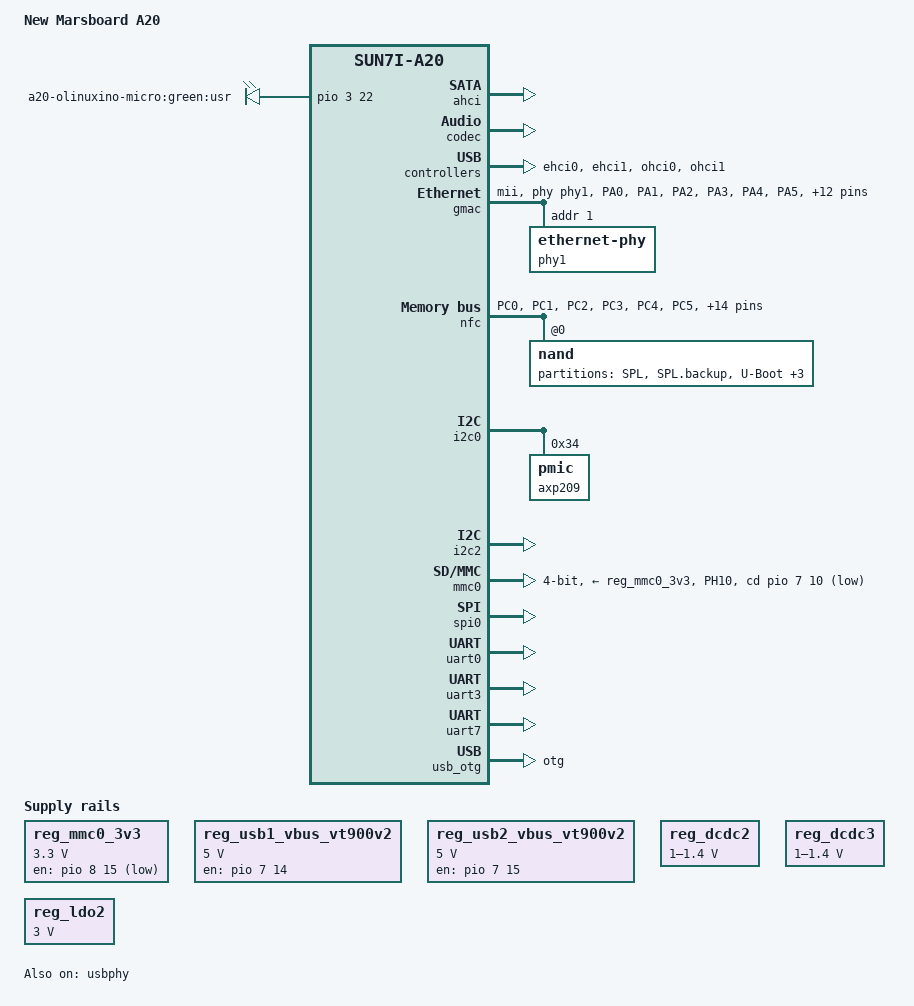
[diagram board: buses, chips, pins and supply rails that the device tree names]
/*
 * Copyright 2014 Hans de Goede <hdegoede@redhat.com>
 *
 * Hans de Goede <hdegoede@redhat.com>
 *
 * This file is dual-licensed: you can use it either under the terms
 * of the GPL or the X11 license, at your option. Note that this dual
 * licensing only applies to this file, and not this project as a
 * whole.
 *
 *  a) This file is free software; you can redistribute it and/or
 *     modify it under the terms of the GNU General Public License as
 *     published by the Free Software Foundation; either version 2 of the
 *     License, or (at your option) any later version.
 *
 *     This file is distributed in the hope that it will be useful,
 *     but WITHOUT ANY WARRANTY; without even the implied warranty of
 *     MERCHANTABILITY or FITNESS FOR A PARTICULAR PURPOSE.  See the
 *     GNU General Public License for more details.
 *
 * Or, alternatively,
 *
 *  b) Permission is hereby granted, free of charge, to any person
 *     obtaining a copy of this software and associated documentation
 *     files (the "Software"), to deal in the Software without
 *     restriction, including without limitation the rights to use,
 *     copy, modify, merge, publish, distribute, sublicense, and/or
 *     sell copies of the Software, and to permit persons to whom the
 *     Software is furnished to do so, subject to the following
 *     conditions:
 *
 *     The above copyright notice and this permission notice shall be
 *     included in all copies or substantial portions of the Software.
 *
 *     THE SOFTWARE IS PROVIDED "AS IS", WITHOUT WARRANTY OF ANY KIND,
 *     EXPRESS OR IMPLIED, INCLUDING BUT NOT LIMITED TO THE WARRANTIES
 *     OF MERCHANTABILITY, FITNESS FOR A PARTICULAR PURPOSE AND
 *     NONINFRINGEMENT. IN NO EVENT SHALL THE AUTHORS OR COPYRIGHT
 *     HOLDERS BE LIABLE FOR ANY CLAIM, DAMAGES OR OTHER LIABILITY,
 *     WHETHER IN AN ACTION OF CONTRACT, TORT OR OTHERWISE, ARISING
 *     FROM, OUT OF OR IN CONNECTION WITH THE SOFTWARE OR THE USE OR
 *     OTHER DEALINGS IN THE SOFTWARE.
 */

/dts-v1/;
#include "sun7i-a20.dtsi"
#include "sunxi-common-regulators.dtsi"

#include <dt-bindings/gpio/gpio.h>
#include <dt-bindings/interrupt-controller/irq.h>
#include <dt-bindings/pinctrl/sun4i-a10.h>

/ {
	model = "New Marsboard A20";
	compatible = "haoyu,a20-marsboard-new", "allwinner,sun7i-a20";

	aliases {
		serial0 = &uart0;
		serial1 = &uart3;
		serial2 = &uart7;
	};

	chosen {
		stdout-path = "serial0:115200n8";
	};

	leds {
		compatible = "gpio-leds";
		pinctrl-names = "default";
		pinctrl-0 = <&led_pins_vt900v2>;

		green {
			label = "a20-olinuxino-micro:green:usr";
			gpios = <&pio 3 22 GPIO_ACTIVE_HIGH>;  /* PD22 */
			default-state = "on";
		};
	};
	
	reg_mmc0_3v3: mmc0-3v3 {
		status = "okay";
		compatible = "regulator-fixed";
		pinctrl-names = "default";
		pinctrl-0 = <&mmc0_power_pin_vt900v2>;
		regulator-name = "mmc0-3v3";
		regulator-min-microvolt = <3300000>;
		regulator-max-microvolt = <3300000>;
		startup-delay-us = <100000>;		
		/* enable-active-high; */
		gpio = <&pio 8 15 GPIO_ACTIVE_HIGH>; /* PI15 */
	};
	
	reg_usb1_vbus_vt900v2: usb1-vbus_vt900v2 {
		status = "okay";	
		compatible = "regulator-fixed";
		regulator-name = "usb1-vbus";
		regulator-min-microvolt = <5000000>;
		regulator-max-microvolt = <5000000>;
		enable-active-high;		
		startup-delay-us = <100000>;
		pinctrl-0 = <&usb1_vbus_pin_vt900v2>;
		gpio = <&pio 7 14 GPIO_ACTIVE_HIGH>;   /* PH14 */
		
	};

	reg_usb2_vbus_vt900v2: usb2-vbus_vt900v2 {
		status = "okay";	
		compatible = "regulator-fixed";
		regulator-name = "usb2-vbus";
		regulator-min-microvolt = <5000000>;
		regulator-max-microvolt = <5000000>;
		enable-active-high;
		startup-delay-us = <100000>;
		gpio = <&pio 7 15 GPIO_ACTIVE_HIGH>;  /* PH15 */		
	};
	
	

};

&ahci {
	status = "okay";
};

&codec {
	status = "okay";
};

&cpu0 {
	cpu-supply = <&reg_dcdc2>;
	operating-points = <
		/* kHz	  uV */
		960000	1400000
		912000	1400000
		864000	1350000
		720000	1250000
		528000	1150000
		312000	1100000
		144000	1050000
		>;
};

&ehci0 {
	status = "okay";
};

&ehci1 {
	status = "okay";
};

&gmac {
	pinctrl-names = "default";
	pinctrl-0 = <&gmac_pins_mii_17>;
	phy = <&phy1>;
	phy-mode = "mii";
	status = "okay";

	phy1: ethernet-phy@1 {
		reg = <1>;
	};
};

&nfc {
	pinctrl-names = "default";
	pinctrl-0 = <&nand_pins_a>;  /* &nand_cs0_pins_a &nand_rb0_pins_a>; */	
	status = "okay";

	nand@0 {
		reg = <0>;
		allwinner,rb = <0>;
		nand-ecc-mode = "hw";
		nand-rnd-mode = "hw";
		nand-on-flash-bbt;
				
		partitions {
			compatible = "fixed-partitions";
			#address-cells = <2>;
			#size-cells = <2>;

			partition@0 {
				label = "SPL";
				reg = /bits/ 64 <0x0 0x400000>;
			};

			partition@400000 {
				label = "SPL.backup";
				reg = /bits/ 64 <0x400000 0x400000>;
			};

			partition@800000 {
				label = "U-Boot";
				reg = /bits/ 64 <0x800000 0x400000>;
			};

			partition@c00000 {
				label = "U-Boot.backup";
				reg = /bits/ 64 <0xc00000 0x400000>;
			};

			partition@1000000 {	
				label = "env";
				reg = /bits/ 64 <0x1000000 0x400000>;
			};

			partition@1400000 {
				label = "rootfs";
				reg = /bits/ 64 <0x1400000 0x78000000>;				
			};
		};
	};
};

&i2c0 {
	pinctrl-names = "default";
	pinctrl-0 = <&i2c0_pins_a>;
	status = "okay";

	axp209: pmic@34 {
		reg = <0x34>;
		interrupt-parent = <&nmi_intc>;
		interrupts = <0 IRQ_TYPE_LEVEL_LOW>;
	};
};

&i2c2 {
	pinctrl-names = "default";
	pinctrl-0 = <&i2c2_pins_a>;
	status = "okay";
};


&mmc0 {
	pinctrl-names = "default";
	pinctrl-0 = <&mmc0_pins_a>, <&mmc0_cd_pin_bananapi>;
	vmmc-supply = <&reg_mmc0_3v3>;   /*<&reg_vcc3v3>;*/
	bus-width = <4>;
	cd-gpios = <&pio 7 10 GPIO_ACTIVE_HIGH>; /* PH10 */
	cd-inverted;
	status = "okay";
};

&ohci0 {
	status = "okay";
};

&ohci1 {
	status = "okay";
};

&otg_sram {
	status = "okay";
};

&pio {
	gpio-line-names =
		/* PA */
		"ERXD3", "ERXD2", "ERXD1", "ERXD0", "ETXD3",
		"ETXD2", "ETXD1", "ETXD0",
		"ERXCK", "ERXERR", "ERXDV", "EMDC", "EMDIO",
		"ETXEN", "ETXCK", "ECRS",
		"ECOL", "ETXERR", "", "", "", "", "", "",
		"", "", "", "", "", "", "", "",
		/* PB */
		"PMU-SCK", "PMU-SDA", "", "", "", "", "", "",
		"", "USB0-DRV", "", "", "", "", "", "",
		"", "", "", "", "SCL", "SDA", "", "",
		"", "", "", "", "", "", "", "",
		/* PC */
		"", "", "", "", "", "", "", "",
		"", "", "", "", "", "", "", "",
		"", "", "", "", "", "", "", "",
		"", "", "", "", "", "", "", "",
		/* PD */
		"", "", "", "", "", "", "", "",
		"", "", "", "", "", "", "", "",
		"", "", "", "", "", "", "", "",
		"", "", "", "", "", "", "", "",
		/* PE */
		"", "", "", "", "", "", "", "",
		"", "", "", "", "", "", "", "",
		"", "", "", "", "", "", "", "",
		"", "", "", "", "", "", "", "",
		/* PF */
		"SD0-D1", "SD0-D0", "SD0-CLK", "SD0-CMD", "SD0-D3",
			"SD0-D2", "", "",
		"", "", "", "", "", "", "", "",
		"", "", "", "", "", "", "", "",
		"", "", "", "", "", "", "", "",
		/* PG */
		"", "", "", "", "", "", "", "",
		"", "", "", "", "", "", "", "",
		"", "", "", "", "", "", "", "",
		"", "", "", "", "", "", "", "",
		/* PH */
		"TXD0", "RXD0", "IO-1", "PH3", "USB0-IDDET", "PH5", "", "",
		"", "", "SD0-DET", "", "", "", "", "",
		"", "", "", "", "IO-4", "IO-5", "", "EMAC-PWR-EN",
		"LED1", "", "", "", "", "", "", "",
		/* PI */
		"", "", "", "IO-GCLK", "", "", "", "",
		"", "", "SPI-CE0", "SPI-CLK", "SPI-MOSI",
			"SPI-MISO", "SPI-CE1", "",
		"IO-6", "IO-3", "IO-2", "IO-0", "", "", "", "",
		"", "", "", "", "", "", "", "";

	led_pins_vt900v2: led_pins@0 {
		allwinner,pins = "PD22", "PD23", "PD24", "PD25",
			"PE0", "PE1", "PE2", "PE3";
		allwinner,function = "gpio_out";
		allwinner,drive = <SUN4I_PINCTRL_10_MA>;
		allwinner,pull = <SUN4I_PINCTRL_NO_PULL>;
	};
	nand_pins_a: nand-base0@0 {
		allwinner,pins = "PC0", "PC1", "PC2",	/* we, ale, cle */
			"PC3", "PC4",  			/* ce1, ce0 */
			"PC5", "PC6", "PC7",	/* nre, rb0, rb1 */
			"PC8", "PC9", "PC10", "PC11", "PC12", "PC13", "PC14", "PC15", /* d0-d7 */
			"PC16", 				/* wp */
			"PC17", "PC18" ,		/* ce2, ce3 */
			"PC24";					/* ndqs */
		allwinner,function = "nand0";
		allwinner,drive = <SUN4I_PINCTRL_10_MA>;
		allwinner,pull = <SUN4I_PINCTRL_NO_PULL>;
	};
/*
	nand_cs0_pins_a: nand-cs@0 {
		allwinner,pins = "PC4";
		allwinner,function = "nand0";
		allwinner,drive = <SUN4I_PINCTRL_10_MA>;
		allwinner,pull = <SUN4I_PINCTRL_NO_PULL>;
	};

	nand_rb0_pins_a: nand-rb@0 {
		allwinner,pins = "PC6";
		allwinner,function = "nand0";
		allwinner,drive = <SUN4I_PINCTRL_10_MA>;
		allwinner,pull = <SUN4I_PINCTRL_NO_PULL>;
	};
*/	
	usb0_id_detect_pin_vt900v2: usb0_id_detect_pin_vt900v2@0 {
		allwinner,pins = "PH11";
		allwinner,function = "gpio_in";
		allwinner,drive = <SUN4I_PINCTRL_10_MA>;
		allwinner,pull = <SUN4I_PINCTRL_PULL_UP>;
	};

	usb0_vbus_detect_pin_vt900v2: usb0_vbus_detect_pin_vt900v2@0 {
		allwinner,pins = "PH13";
		allwinner,function = "gpio_in";
		allwinner,drive = <SUN4I_PINCTRL_10_MA>;
		allwinner,pull = <SUN4I_PINCTRL_PULL_DOWN>;
	};
	usb1_vbus_pin_vt900v2: usb1_vbus_pin@0 {
		allwinner,pins = "PH14";
		allwinner,function = "gpio_out";
		allwinner,drive = <SUN4I_PINCTRL_10_MA>;
		allwinner,pull = <SUN4I_PINCTRL_NO_PULL>;
	};

	mmc0_cd_pin_bananapi: mmc0_cd_pin@0 {
		pins = "PH10";
		function = "gpio_in";
		bias-pull-up;
	};
	mmc0_power_pin_vt900v2: mmc0_power_pin@0 {
		allwinner,pins = "PI15";
		allwinner,function = "gpio_out";
		allwinner,drive = <SUN4I_PINCTRL_20_MA>;
		allwinner,pull = <SUN4I_PINCTRL_NO_PULL>;
	};


	gmac_pins_mii_17: gmac_mii_17@0 {
		pins = "PA0", "PA1", "PA2",
		       "PA3", "PA4", "PA5", "PA6",
		       "PA7", "PA8", "PA9", "PA10",
		       "PA11", "PA12", "PA13", "PA14",
		       "PA15", "PA16", "PA17";
		function = "gmac";
	};
/*
	led_pins_bananapi: led_pins@0 {
		pins = "PH24";
		function = "gpio_out";
	};
*/
};

#include "axp209.dtsi"

&reg_dcdc2 {
	regulator-always-on;
	regulator-min-microvolt = <1000000>;
	regulator-max-microvolt = <1400000>;
	regulator-name = "vdd-cpu";
};

&reg_dcdc3 {
	regulator-always-on;
	regulator-min-microvolt = <1000000>;
	regulator-max-microvolt = <1400000>;
	regulator-name = "vdd-int-dll";
};

&reg_ldo1 {
	regulator-name = "vdd-rtc";
};

&reg_ldo2 {
	regulator-always-on;
	regulator-min-microvolt = <3000000>;
	regulator-max-microvolt = <3000000>;
	regulator-name = "avcc";
};

&reg_vcc3v0 {
	status = "okay";
	regulator-always-on;
};
&reg_vcc3v3 {
	status = "okay";
	regulator-always-on;
};
&reg_vcc5v0 {
	status = "okay";
	regulator-always-on;
};
&reg_ahci_5v {
	status = "okay";
	regulator-always-on;
};

&spi0 {
	pinctrl-names = "default";
	pinctrl-0 = <&spi0_pins_a>,
		    <&spi0_cs0_pins_a>,
		    <&spi0_cs1_pins_a>;
	status = "okay";
};

&uart0 {
	pinctrl-names = "default";
	pinctrl-0 = <&uart0_pins_a>;
	status = "okay";
};

&uart3 {
	pinctrl-names = "default";
	pinctrl-0 = <&uart3_pins_b>;
	status = "okay";
};

&uart7 {
	pinctrl-names = "default";
	pinctrl-0 = <&uart7_pins_a>;
	status = "okay";
};

&usb_otg {
	dr_mode = "otg";
	status = "okay";
};

&usb_power_supply {
	status = "okay";
	regulator-always-on;
};
/*
&ac_power_supply {
	status = "okay";
};
*/

&reg_usb0_vbus {
	status = "okay";
	enable-active-high;
	/delete-property/ regulator-boot-on;
};


&reg_usb1_vbus {
	status = "okay";
	pinctrl-0 = <&usb1_vbus_pin_vt900v2>;
	gpio = <&pio 7 14 GPIO_ACTIVE_HIGH>;   /* PH14 */  
	enable-active-high;
	/delete-property/ regulator-boot-on;	
};


&reg_usb2_vbus {
	status = "okay";
	enable-active-high;
	/delete-property/ regulator-boot-on;
};


&usbphy {
	pinctrl-names = "default";
	pinctrl-0 = <&usb0_id_detect_pin_vt900v2>, <&usb0_vbus_detect_pin_vt900v2>;
	vcc-supply = <&reg_vcc3v3>;
	usb0_id_det = <&pio 7 11 GPIO_ACTIVE_HIGH>;   /* PH11 */
	usb0_vbus_det = <&pio 7 13 GPIO_ACTIVE_HIGH>; /* PH13 */
	usb0_vbus_power-supply = <&usb_power_supply>;
	usb0_vbus = <&reg_usb0_vbus>;
	/* usb1_vbus_power-supply = <&usb_power_supply>; */
	usb1_vbus = <&reg_usb1_vbus>;
	usb2_vbus = <&reg_usb2_vbus>;
	
	/*
	usb0_vbus_power-supply = <&usb_power_supply>;
	usb0_vbus-supply = <&reg_usb0_vbus>;
	usb1_vbus_power-supply = <&reg_vcc5v0>;
	usb1_vbus-supply = <&reg_usb1_vbus_vt900v2>;
	usb2_vbus_power-supply = <&usb_power_supply>;
	usb2_vbus-supply = <&reg_usb2_vbus>;
	*/
	status = "okay";
};
